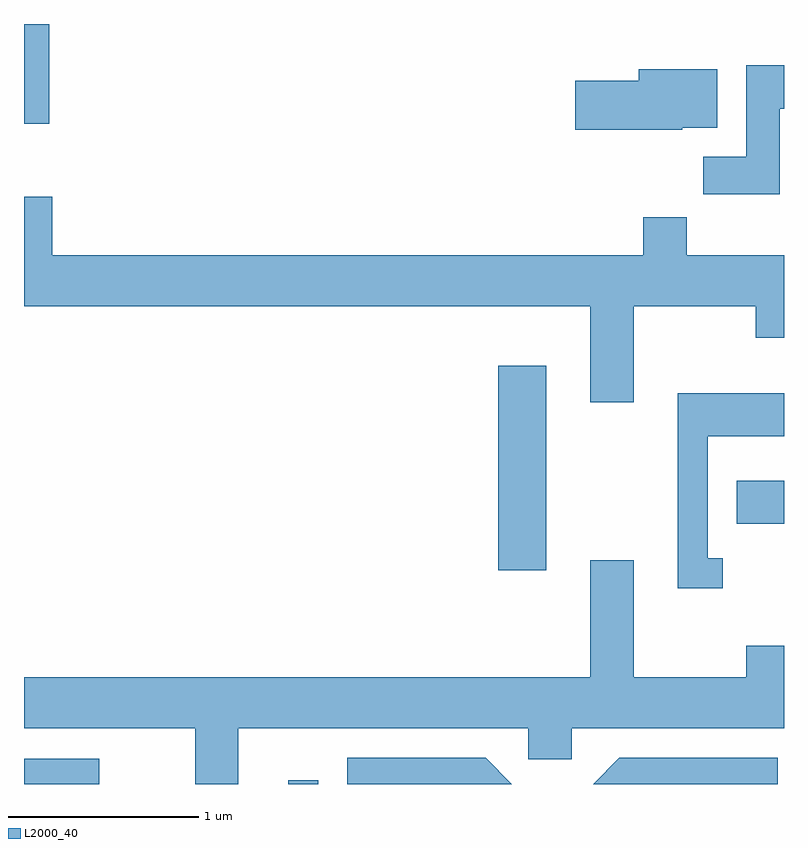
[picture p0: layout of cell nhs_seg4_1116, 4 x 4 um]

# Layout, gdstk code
import gdstk
lib = gdstk.Library(unit=1e-6, precision=1e-09)
def R(c, l, rs):  # rectangles x0, y0, x1, y1
    for r in rs: c.add(gdstk.rectangle(r[:2], r[2:], *l))
def P(c, l, *ps):  # polygons
    for p in ps: c.add(gdstk.Polygon(p, *l))
L2000_40 = (2000, 40)

nhs_seg4_1116 = lib.new_cell('nhs_seg4_1116')
R(nhs_seg4_1116, L2000_40, [(217.611,1309.982,218.008,1310.114), (219.001,1309.982,219.159,1310.003), (220.106,1311.106,220.359,1312.184), (221.361,1311.351,221.611,1311.579), (217.611,1313.456,217.744,1313.982)])
P(nhs_seg4_1116, L2000_40, [(221.589,1313.536),(221.611,1313.536),(221.611,1313.764),(221.411,1313.764),(221.411,1313.284),(221.186,1313.284),(221.186,1313.086),(221.589,1313.086)],
  [(221.075,1313.436),(221.259,1313.436),(221.259,1313.744),(220.846,1313.744),(220.846,1313.684),(220.511,1313.684),(220.511,1313.426),(221.075,1313.426)],
  [(220.819,1312.496),(221.461,1312.496),(221.461,1312.331),(221.611,1312.331),(221.611,1312.764),(221.099,1312.764),(221.099,1312.964),(220.871,1312.964),(220.871,1312.764),(217.759,1312.764),(217.759,1313.074),(217.611,1313.074),(217.611,1312.496),(220.591,1312.496),(220.591,1311.991),(220.819,1311.991)],
  [(221.288,1311.169),(221.209,1311.169),(221.209,1311.811),(221.611,1311.811),(221.611,1312.039),(221.051,1312.039),(221.051,1311.011),(221.288,1311.011)],
  [(218.739,1310.276),(220.266,1310.276),(220.266,1310.111),(220.494,1310.111),(220.494,1310.276),(221.611,1310.276),(221.611,1310.709),(221.411,1310.709),(221.411,1310.544),(220.819,1310.544),(220.819,1311.159),(220.591,1311.159),(220.591,1310.544),(217.611,1310.544),(217.611,1310.276),(218.511,1310.276),(218.511,1309.982),(218.739,1309.982)],
  [(221.579,1310.119),(220.744,1310.119),(220.607,1309.982),(221.579,1309.982)],
  [(220.042,1310.119),(219.311,1310.119),(219.311,1309.982),(220.179,1309.982)])

lib.write_gds('nhs_seg4_1116.gds')
